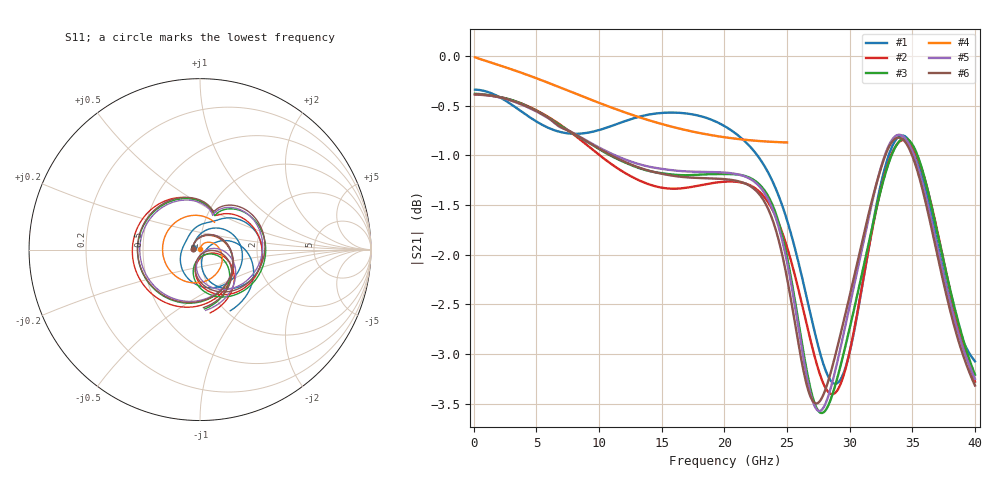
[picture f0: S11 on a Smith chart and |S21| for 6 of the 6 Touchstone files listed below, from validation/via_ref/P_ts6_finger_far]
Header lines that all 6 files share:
# Hz S RI R 50
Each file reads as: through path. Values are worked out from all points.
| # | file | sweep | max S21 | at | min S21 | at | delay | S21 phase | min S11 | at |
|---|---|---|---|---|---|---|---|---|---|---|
| 1 | cst.s2p | 100 MHz to 40 GHz | -0.34 dB | 100 MHz | -3.3 dB | 28.9 GHz | 46.3 ps | 26 deg at 20.1 GHz | -30.3 dB | 34.3 GHz |
| 2 | cst_fine.s2p | 100 MHz to 40 GHz | -0.39 dB | 100 MHz | -3.4 dB | 28.6 GHz | 46.5 ps | 26 deg at 20.1 GHz | -27.8 dB | 35 GHz |
| 3 | kisi.s2p | 100 MHz to 40 GHz | -0.38 dB | 100 MHz | -3.6 dB | 27.8 GHz | 46.6 ps | 24 deg at 20.1 GHz | -28.1 dB | 35.1 GHz |
| 4 | kisi_model.s2p | 100 MHz to 25 GHz | -0.01 dB | 100 MHz | -0.9 dB | 25 GHz | 43 ps | 166 deg at 12.6 GHz | -52.1 dB | 100 MHz |
| 5 | openems.s2p | 100 MHz to 40 GHz | -0.38 dB | 100 MHz | -3.6 dB | 27.6 GHz | 46.8 ps | 23 deg at 20.1 GHz | -32.6 dB | 34.5 GHz |
| 6 | openems_base.s2p | 100 MHz to 40 GHz | -0.38 dB | 100 MHz | -3.5 dB | 27.3 GHz | 46.6 ps | 24 deg at 20.1 GHz | -31.4 dB | 34.7 GHz |
